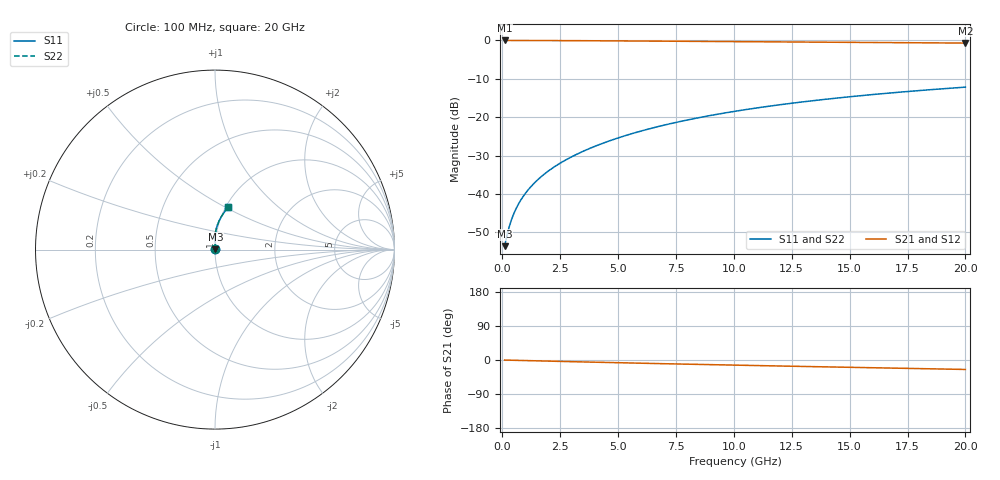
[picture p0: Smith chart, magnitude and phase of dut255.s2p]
! Touchstone file exported from HFSS 2024.1.0
!  File:  C:/UserFiles/LocalFiles/RDL_TSV_Batchsim/temp_RDL_bottom_255_1778701860.aedt
!  Generated:  03:53:45 AM May 14, 2026
!  Design:  RDL_bottom
!  Project:  temp_RDL_bottom_255_1778701860
!  Setup:  Setup1
!  Solution:  Sweep
! Variables:
!  dtsv = 10.80580581um
!  hbump = 3um
!  htsv = 79.41um
!  ldown = 319.06um
!  lrdl = 100um
!  p = 40
!  p1 = 56.75um
!  rhole = 1um
!  t = 450um
!  tdown = 2.77um
!  trdl = 3.915915916um
!  wdown = 28.07um
!  wrdl = 20um
# GHz S MA R 50.000000
! Terminal data exported
! Port[1] = RDL1_T1
! Port[2] = RDL1_T2
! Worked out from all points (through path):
!   200 points, 100 MHz to 20 GHz, reference 50 ohm
!   highest |S21| = -0.02 dB at 100 MHz (marker M1); lowest = -0.7 dB at 20 GHz (marker M2)
!   group delay of S21, straight-line fit = 3.42 ps
!   lowest |S11| = -53.6 dB at 100 MHz (marker M3), VSWR 1.00, Z = 50.2 + j0.111 ohm
!   |S11| at or under -10 dB: start of sweep to end of sweep
!   |S22| runs from -53.6 to -12.2 dB; largest |S21 - S12| = 4.3e-15
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0.1  0.00209 32.0  0.9982 -0.2  0.9982 -0.2  0.00209 32.0
! Gamma 0 0 0 0
! Port Impedance 50 0 50 0
0.2  0.002857 49.8  0.9981 -0.3  0.9981 -0.3  0.002857 49.8
0.3  0.003745 59.1  0.998 -0.5  0.998 -0.5  0.003745 59.1
0.4  0.004657 64.6  0.9979 -0.6  0.9979 -0.6  0.004657 64.6
0.5  0.005571 68.5  0.9977 -0.8  0.9977 -0.8  0.005571 68.5
0.6  0.006487 71.3  0.9976 -0.9  0.9976 -0.9  0.006487 71.3
0.8  0.008334 75.5  0.9974 -1.2  0.9974 -1.2  0.008334 75.5
1.1  0.01116 79.6  0.997 -1.7  0.997 -1.7  0.01116 79.6
1.3  0.01308 81.5  0.9967 -2.0  0.9967 -2.0  0.01308 81.5
1.6  0.01601 83.6  0.9961 -2.4  0.9961 -2.4  0.01601 83.6
2.1  0.02104 86.1  0.9951 -3.1  0.9951 -3.1  0.02104 86.1
2.7  0.02731 88.0  0.9935 -4.0  0.9935 -4.0  0.02731 88.0
3.5  0.03607 89.5  0.991 -5.1  0.991 -5.1  0.03607 89.5
4.2  0.0441 90.1  0.9885 -6.1  0.9885 -6.1  0.0441 90.1
5  0.05367 90.4  0.9854 -7.2  0.9854 -7.2  0.05367 90.4
6.8  0.07636 89.7  0.9779 -9.6  0.9779 -9.6  0.07636 89.7
8.4  0.09739 88.2  0.971 -11.6  0.971 -11.6  0.09738 88.1
10.1  0.1201 86.1  0.9638 -13.6  0.9638 -13.6  0.1201 86.1
11.7  0.1414 83.9  0.957 -15.5  0.957 -15.5  0.1414 83.9
13.4  0.1638 81.6  0.95 -17.5  0.95 -17.5  0.1638 81.6
16.7  0.206 77.0  0.9365 -21.3  0.9365 -21.3  0.206 77.0
20  0.2462 72.6  0.9227 -25.0  0.9227 -25.0  0.2462 72.6
